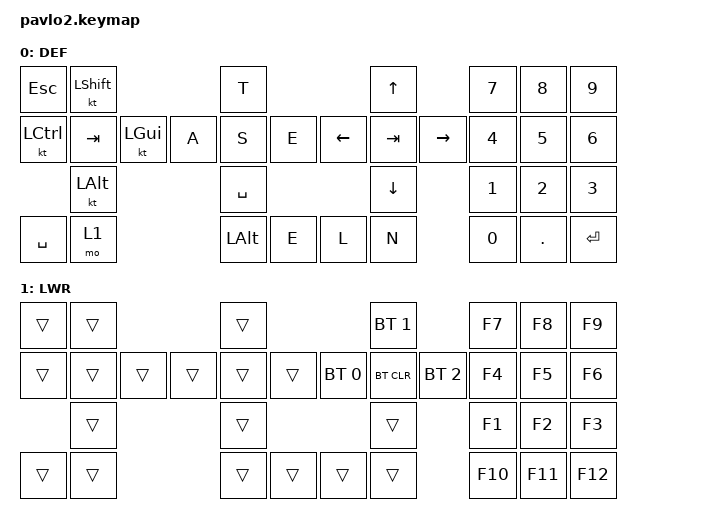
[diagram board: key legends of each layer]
/*
 * Copyright (c) 2020 The ZMK Contributors
 *
 * SPDX-License-Identifier: MIT
 */

#include <behaviors.dtsi>
#include <dt-bindings/zmk/bt.h>
#include <dt-bindings/zmk/keys.h>

/ {
    combos {
        compatible = "zmk,combos";

        combo_q {
            bindings = <&kp Q>;
            key-positions = <2 3>;
            timeout-ms = <100>;
        };

        combo_w {
            bindings = <&kp W>;
            key-positions = <2 15>;
            timeout-ms = <100>;
        };

        combo_r {
            bindings = <&kp R>;
            key-positions = <2 21>;
            timeout-ms = <100>;
        };

        combo_backspace {
            bindings = <&kp BACKSPACE>;
            key-positions = <13 10>;
            timeout-ms = <100>;
        };

        combo_y {
            bindings = <&kp Y>;
            key-positions = <13 2>;
            timeout-ms = <100>;
        };

        combo_u {
            bindings = <&kp U>;
            key-positions = <3 10>;
            timeout-ms = <100>;
        };

        combo_i {
            bindings = <&kp I>;
            key-positions = <10 15>;
            timeout-ms = <100>;
        };

        combo_o {
            bindings = <&kp O>;
            key-positions = <10 21>;
            timeout-ms = <100>;
        };

        combo_p {
            bindings = <&kp P>;
            key-positions = <20 3>;
            timeout-ms = <100>;
        };

        combo_s {
            bindings = <&kp S>;
            key-positions = <15 20>;
            timeout-ms = <100>;
        };

        combo_d {
            bindings = <&kp D>;
            key-positions = <21 20>;
            timeout-ms = <100>;
        };

        combo_f {
            bindings = <&kp F>;
            key-positions = <20 13>;
            timeout-ms = <100>;
        };

        combo_g {
            bindings = <&kp G>;
            key-positions = <12 3>;
            timeout-ms = <100>;
        };

        combo_h {
            bindings = <&kp H>;
            key-positions = <15 12>;
            timeout-ms = <100>;
        };

        combo_j {
            bindings = <&kp J>;
            key-positions = <21 12>;
            timeout-ms = <100>;
        };

        combo_k {
            bindings = <&kp K>;
            key-positions = <12 13>;
            timeout-ms = <100>;
        };

        combo_l {
            bindings = <&kp L>;
            key-positions = <2 15 21>;
            timeout-ms = <100>;
            timeout-ms = <100>;
        };

        combo_semicolon {
            bindings = <&kp SEMICOLON>;
            key-positions = <3 2 12>;
            timeout-ms = <100>;
        };

        combo_apost {
            bindings = <&kp SINGLE_QUOTE>;
            key-positions = <2 12 15>;
            timeout-ms = <100>;
        };

        combo_z {
            bindings = <&kp Z>;
            key-positions = <2 12 21>;
            timeout-ms = <100>;
        };

        combo_x {
            bindings = <&kp X>;
            key-positions = <13 2 12>;
            timeout-ms = <100>;
        };

        combo_c {
            bindings = <&kp C>;
            key-positions = <20 12 3>;
            timeout-ms = <100>;
        };

        combo_v {
            bindings = <&kp V>;
            key-positions = <20 12 15>;
            timeout-ms = <100>;
        };

        combo_b {
            bindings = <&kp B>;
            key-positions = <20 12 21>;
            timeout-ms = <100>;
        };

        combo_n {
            bindings = <&kp N>;
            key-positions = <20 12 13>;
            timeout-ms = <100>;
        };

        combo_m {
            bindings = <&kp M>;
            key-positions = <3 2 12>;
            timeout-ms = <100>;
        };

        combo_comma {
            bindings = <&kp COMMA>;
            key-positions = <12 2 15>;
            timeout-ms = <100>;
        };

        combo_dot {
            bindings = <&kp PERIOD>;
            key-positions = <12 21 2>;
            timeout-ms = <100>;
        };

        combo_slash {
            bindings = <&kp SLASH>;
            key-positions = <2 12 13>;
            timeout-ms = <100>;
        };
    };

    keymap {
        compatible = "zmk,keymap";

        DEF {
            bindings = <
&kp ESC    &kt LEFT_SHIFT                   &kp T                            &kp UP               &kp NUMBER_7  &kp NUMBER_8  &kp NUMBER_9
&kt LCTRL  &kp TAB         &kt LGUI  &kp A  &kp S         &kp E    &kp LEFT  &kp TAB   &kp RIGHT  &kp NUMBER_4  &kp NUMBER_5  &kp NUMBER_6
           &kt LEFT_ALT                     &kp SPACE                        &kp DOWN             &kp NUMBER_1  &kp NUMBER_2  &kp NUMBER_3
&kp SPACE  &mo 1                            &kp LEFT_ALT  &kp E    &kp L     &kp N                &kp N0        &kp DOT       &kp ENTER
            >;
        };

        LWR {
            bindings = <
&trans  &trans                  &trans                          &bt BT_SEL 1                &kp F7   &kp F8   &kp F9
&trans  &trans  &trans  &trans  &trans  &trans    &bt BT_SEL 0  &bt BT_CLR    &bt BT_SEL 2  &kp F4   &kp F5   &kp F6
        &trans                  &trans                          &trans                      &kp F1   &kp F2   &kp F3
&trans  &trans                  &trans  &trans    &trans        &trans                      &kp F10  &kp F11  &kp F12
            >;
        };
    };
};
